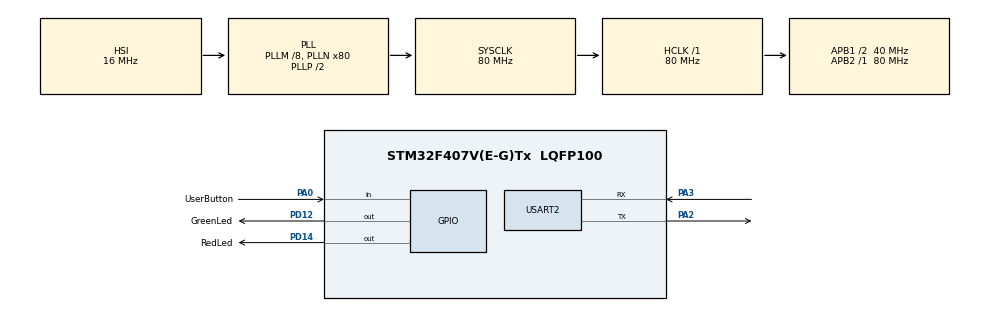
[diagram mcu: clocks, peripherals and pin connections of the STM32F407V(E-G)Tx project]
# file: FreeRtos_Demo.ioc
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ADC1.Channel-0\#ChannelRegularConversion=ADC_CHANNEL_TEMPSENSOR
ADC1.NbrOfConversionFlag=1
ADC1.Rank-0\#ChannelRegularConversion=1
ADC1.SamplingTime-0\#ChannelRegularConversion=ADC_SAMPLETIME_3CYCLES
ADC1.master=1
Mcu.Family=STM32F4
Mcu.Name=STM32F407V(E-G)Tx
Mcu.Package=LQFP100
NVIC.PriorityGroup=NVIC_PRIORITYGROUP_4
NVIC.TIM1_UP_TIM10_IRQn=true\:15\:0\:false\:false\:true\:false\:true
NVIC.TimeBase=TIM1_UP_TIM10_IRQn
NVIC.TimeBaseIP=TIM1
PA0-WKUP.GPIO_Label=UserButton
PA0-WKUP.Signal=GPIO_Input
PA13.Mode=Serial_Wire
PA13.Signal=SYS_JTMS-SWDIO
PA14.Mode=Serial_Wire
PA14.Signal=SYS_JTCK-SWCLK
PA2.Mode=Asynchronous
PA2.Signal=USART2_TX
PA3.Mode=Asynchronous
PA3.Signal=USART2_RX
PD12.GPIO_Label=GreenLed
PD12.Signal=GPIO_Output
PD14.GPIO_Label=RedLed
PD14.Signal=GPIO_Output
ProjectManager.HeapSize=0x200
ProjectManager.StackSize=0x400
ProjectManager.TargetToolchain=STM32CubeIDE
RCC.48MHZClocksFreq_Value=40000000
RCC.AHBFreq_Value=80000000
RCC.APB1CLKDivider=RCC_HCLK_DIV2
RCC.APB1Freq_Value=40000000
RCC.APB1TimFreq_Value=80000000
RCC.APB2Freq_Value=80000000
RCC.APB2TimFreq_Value=80000000
RCC.CortexFreq_Value=80000000
RCC.HCLKFreq_Value=80000000
RCC.HSE_VALUE=25000000
RCC.HSI_VALUE=16000000
RCC.LSE_VALUE=32768
RCC.PLLM=8
RCC.PLLN=80
RCC.SYSCLKFreq_VALUE=80000000
RCC.SYSCLKSource=RCC_SYSCLKSOURCE_PLLCLK
RCC.VCOOutputFreq_Value=160000000
USART2.VirtualMode=VM_ASYNC
VP_ADC1_TempSens_Input.Mode=IN-TempSens
VP_SYS_VS_tim1.Mode=TIM1
board=custom

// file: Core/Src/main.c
/* USER CODE BEGIN Header */
/**
  ******************************************************************************
  * @file           : main.c
  * @brief          : Main program body
  ******************************************************************************
  * @attention
  *
  * <h2><center>&copy; Copyright (c) 2021 STMicroelectronics.
  * All rights reserved.</center></h2>
  *
  * This software component is licensed by ST under BSD 3-Clause license,
  * the "License"; You may not use this file except in compliance with the
  * License. You may obtain a copy of the License at:
  *                        opensource.org/licenses/BSD-3-Clause
  *
  ******************************************************************************
  */
/* USER CODE END Header */
#include "main.h"

/* USER CODE BEGIN Includes */
#include "FreeRTOS.h"
#include "task.h"

/* USER CODE END Includes */

ADC_HandleTypeDef hadc1;

UART_HandleTypeDef huart2;

/* USER CODE BEGIN PV */
TaskHandle_t xRedLEDTaskHandle;
TaskHandle_t xGreenLEDTaskHandle;
//TaskHandle_t xReadTemperatureHandle;
/* USER CODE END PV */

void SystemClock_Config(void);
static void MX_GPIO_Init(void);
static void MX_USART2_UART_Init(void);
static void MX_ADC1_Init(void);
/* USER CODE BEGIN PFP */
void vRedLEDTask(void *pvParameters);
void vGreenLEDTask(void *pvParameters);
void vReadTemperature(void *pvParameters);
/* USER CODE END PFP */

int main(void)
{

  /* MCU Configuration--------------------------------------------------------*/

  /* Reset of all peripherals, Initializes the Flash interface and the Systick. */
  HAL_Init();

  /* Configure the system clock */
  SystemClock_Config();

  /* USER CODE BEGIN SysInit */
  vTraceEnable(TRC_START);
  /* USER CODE END SysInit */

  /* Initialize all configured peripherals */
  MX_GPIO_Init();
  MX_USART2_UART_Init();
  MX_ADC1_Init();
  /* USER CODE BEGIN 2 */

  /*Create Red Led Task*/
  xTaskCreate(vRedLEDTask,"Red Led Task",128,NULL,1, &xRedLEDTaskHandle);
  xTaskCreate(vGreenLEDTask,"Green Led Task",128,NULL,1, &xGreenLEDTaskHandle);
  xTaskCreate(vReadTemperature,"Temperature Sensor",128,NULL,1,&xReadTemperatureHandle);
  vTaskStartScheduler();
  /* USER CODE END 2 */

  /* Infinite loop */
  while (1)
  {

  }
}

void SystemClock_Config(void)
{
  RCC_OscInitTypeDef RCC_OscInitStruct = {0};
  RCC_ClkInitTypeDef RCC_ClkInitStruct = {0};

  /** Configure the main internal regulator output voltage
  */
  __HAL_RCC_PWR_CLK_ENABLE();
  __HAL_PWR_VOLTAGESCALING_CONFIG(PWR_REGULATOR_VOLTAGE_SCALE1);
  /** Initializes the RCC Oscillators according to the specified parameters
  * in the RCC_OscInitTypeDef structure.
  */
  RCC_OscInitStruct.OscillatorType = RCC_OSCILLATORTYPE_HSI;
  RCC_OscInitStruct.HSIState = RCC_HSI_ON;
  RCC_OscInitStruct.HSICalibrationValue = RCC_HSICALIBRATION_DEFAULT;
  RCC_OscInitStruct.PLL.PLLState = RCC_PLL_ON;
  RCC_OscInitStruct.PLL.PLLSource = RCC_PLLSOURCE_HSI;
  RCC_OscInitStruct.PLL.PLLM = 8;
  RCC_OscInitStruct.PLL.PLLN = 80;
  RCC_OscInitStruct.PLL.PLLP = RCC_PLLP_DIV2;
  RCC_OscInitStruct.PLL.PLLQ = 4;
  if (HAL_RCC_OscConfig(&RCC_OscInitStruct) != HAL_OK)
  {
    Error_Handler();
  }
  /** Initializes the CPU, AHB and APB buses clocks
  */
  RCC_ClkInitStruct.ClockType = RCC_CLOCKTYPE_HCLK|RCC_CLOCKTYPE_SYSCLK
                              |RCC_CLOCKTYPE_PCLK1|RCC_CLOCKTYPE_PCLK2;
  RCC_ClkInitStruct.SYSCLKSource = RCC_SYSCLKSOURCE_PLLCLK;
  RCC_ClkInitStruct.AHBCLKDivider = RCC_SYSCLK_DIV1;
  RCC_ClkInitStruct.APB1CLKDivider = RCC_HCLK_DIV2;
  RCC_ClkInitStruct.APB2CLKDivider = RCC_HCLK_DIV1;

  if (HAL_RCC_ClockConfig(&RCC_ClkInitStruct, FLASH_LATENCY_2) != HAL_OK)
  {
    Error_Handler();
  }
}

static void MX_ADC1_Init(void)
{

  ADC_ChannelConfTypeDef sConfig = {0};

  /** Configure the global features of the ADC (Clock, Resolution, Data Alignment and number of conversion)
  */
  hadc1.Instance = ADC1;
  hadc1.Init.ClockPrescaler = ADC_CLOCK_SYNC_PCLK_DIV4;
  hadc1.Init.Resolution = ADC_RESOLUTION_12B;
  hadc1.Init.ScanConvMode = DISABLE;
  hadc1.Init.ContinuousConvMode = DISABLE;
  hadc1.Init.DiscontinuousConvMode = DISABLE;
  hadc1.Init.ExternalTrigConvEdge = ADC_EXTERNALTRIGCONVEDGE_NONE;
  hadc1.Init.ExternalTrigConv = ADC_SOFTWARE_START;
  hadc1.Init.DataAlign = ADC_DATAALIGN_RIGHT;
  hadc1.Init.NbrOfConversion = 1;
  hadc1.Init.DMAContinuousRequests = DISABLE;
  hadc1.Init.EOCSelection = ADC_EOC_SINGLE_CONV;
  if (HAL_ADC_Init(&hadc1) != HAL_OK)
  {
    Error_Handler();
  }
  /** Configure for the selected ADC regular channel its corresponding rank in the sequencer and its sample time.
  */
  sConfig.Channel = ADC_CHANNEL_TEMPSENSOR;
  sConfig.Rank = 1;
  sConfig.SamplingTime = ADC_SAMPLETIME_3CYCLES;
  if (HAL_ADC_ConfigChannel(&hadc1, &sConfig) != HAL_OK)
  {
    Error_Handler();
  }

}

static void MX_USART2_UART_Init(void)
{

  huart2.Instance = USART2;
  huart2.Init.BaudRate = 115200;
  huart2.Init.WordLength = UART_WORDLENGTH_8B;
  huart2.Init.StopBits = UART_STOPBITS_1;
  huart2.Init.Parity = UART_PARITY_NONE;
  huart2.Init.Mode = UART_MODE_TX_RX;
  huart2.Init.HwFlowCtl = UART_HWCONTROL_NONE;
  huart2.Init.OverSampling = UART_OVERSAMPLING_16;
  if (HAL_UART_Init(&huart2) != HAL_OK)
  {
    Error_Handler();
  }

}

static void MX_GPIO_Init(void)
{
  GPIO_InitTypeDef GPIO_InitStruct = {0};

  /* GPIO Ports Clock Enable */
  __HAL_RCC_GPIOA_CLK_ENABLE();
  __HAL_RCC_GPIOD_CLK_ENABLE();

  /*Configure GPIO pin Output Level */
  HAL_GPIO_WritePin(GPIOD, GreenLed_Pin|RedLed_Pin, GPIO_PIN_RESET);

  /*Configure GPIO pin : UserButton_Pin */
  GPIO_InitStruct.Pin = UserButton_Pin;
  GPIO_InitStruct.Mode = GPIO_MODE_INPUT;
  GPIO_InitStruct.Pull = GPIO_NOPULL;
  HAL_GPIO_Init(UserButton_GPIO_Port, &GPIO_InitStruct);

  /*Configure GPIO pins : GreenLed_Pin RedLed_Pin */
  GPIO_InitStruct.Pin = GreenLed_Pin|RedLed_Pin;
  GPIO_InitStruct.Mode = GPIO_MODE_OUTPUT_PP;
  GPIO_InitStruct.Pull = GPIO_NOPULL;
  GPIO_InitStruct.Speed = GPIO_SPEED_FREQ_LOW;
  HAL_GPIO_Init(GPIOD, &GPIO_InitStruct);

}

/* USER CODE BEGIN 4 */
void vRedLEDTask(void *pvParameters){
	for(;;){
		HAL_GPIO_TogglePin(RedLed_GPIO_Port,RedLed_Pin);
		HAL_Delay(500);
	}
}
void vGreenLEDTask(void *pvParameters){
	for(;;){
		HAL_GPIO_TogglePin(GreenLed_GPIO_Port,GreenLed_Pin);
		HAL_Delay(500);
	}
}

void vReadTemperature(void *pvParameters){
	uint16_t HAL_ADC_GetValue(hadc) = ;
	HAL_Delay(1000);
}
/* USER CODE END 4 */

void HAL_TIM_PeriodElapsedCallback(TIM_HandleTypeDef *htim)
{
  if (htim->Instance == TIM1) {
    HAL_IncTick();
  }
}

void Error_Handler(void)
{
  __disable_irq();
  while (1)
  {
  }
}

/************************ (C) COPYRIGHT STMicroelectronics *****END OF FILE****/
